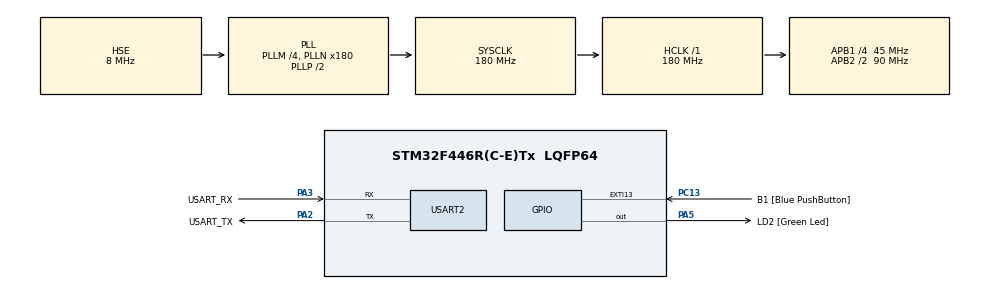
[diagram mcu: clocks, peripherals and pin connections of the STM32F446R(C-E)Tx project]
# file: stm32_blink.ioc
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Mcu.Family=STM32F4
Mcu.Name=STM32F446R(C-E)Tx
Mcu.Package=LQFP64
NVIC.PriorityGroup=NVIC_PRIORITYGROUP_0
PA13.GPIO_Label=TMS
PA13.Mode=Serial_Wire
PA13.Signal=SYS_JTMS-SWDIO
PA14.GPIO_Label=TCK
PA14.Mode=Serial_Wire
PA14.Signal=SYS_JTCK-SWCLK
PA2.GPIO_Label=USART_TX
PA2.Mode=Asynchronous
PA2.Signal=USART2_TX
PA3.GPIO_Label=USART_RX
PA3.Mode=Asynchronous
PA3.Signal=USART2_RX
PA5.GPIO_Label=LD2 [Green Led]
PA5.GPIO_ModeDefaultOutputPP=GPIO_MODE_OUTPUT_PP
PA5.GPIO_PuPd=GPIO_NOPULL
PA5.PinState=GPIO_PIN_SET
PA5.Signal=GPIO_Output
PB3.GPIO_Label=SWO
PB3.Signal=SYS_JTDO-SWO
PC13.GPIO_Label=B1 [Blue PushButton]
PC13.GPIO_ModeDefaultEXTI=GPIO_MODE_IT_FALLING
PC13.Signal=GPXTI13
PC14-OSC32_IN.Mode=LSE-External-Oscillator
PC14-OSC32_IN.Signal=RCC_OSC32_IN
PC15-OSC32_OUT.Mode=LSE-External-Oscillator
PC15-OSC32_OUT.Signal=RCC_OSC32_OUT
PH0-OSC_IN.Mode=HSE-External-Oscillator
PH0-OSC_IN.Signal=RCC_OSC_IN
PH1-OSC_OUT.Mode=HSE-External-Oscillator
PH1-OSC_OUT.Signal=RCC_OSC_OUT
ProjectManager.HeapSize=0x200
ProjectManager.StackSize=0x400
ProjectManager.TargetToolchain=STM32CubeIDE
RCC.48MHZClocksFreq_Value=84000000
RCC.AHBFreq_Value=180000000
RCC.APB1CLKDivider=RCC_HCLK_DIV4
RCC.APB1Freq_Value=45000000
RCC.APB1TimFreq_Value=90000000
RCC.APB2CLKDivider=RCC_HCLK_DIV2
RCC.APB2Freq_Value=90000000
RCC.APB2TimFreq_Value=180000000
RCC.CortexFreq_Value=180000000
RCC.FLatency-AdvancedSettings=FLASH_LATENCY_5
RCC.HCLKFreq_Value=180000000
RCC.HSE_VALUE=8000000
RCC.HSI_VALUE=16000000
RCC.PLLM=4
RCC.PLLN=180
RCC.PLLSourceVirtual=RCC_PLLSOURCE_HSE
RCC.SYSCLKFreq_VALUE=180000000
RCC.SYSCLKSource=RCC_SYSCLKSOURCE_PLLCLK
RCC.USBFreq_Value=180000000
RCC.VCOOutputFreq_Value=360000000
USART2.VirtualMode=VM_ASYNC
board=NUCLEO-F446RE

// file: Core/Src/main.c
/* USER CODE BEGIN Header */
/**
  ******************************************************************************
  * @file           : main.c
  * @brief          : Main program body
  ******************************************************************************
  * @attention
  *
  * Copyright (c) 2025 STMicroelectronics.
  * All rights reserved.
  *
  * This software is licensed under terms that can be found in the LICENSE file
  * in the root directory of this software component.
  * If no LICENSE file comes with this software, it is provided AS-IS.
  *
  ******************************************************************************
  */
/* USER CODE END Header */
#include "main.h"

/* USER CODE BEGIN Includes */
#include <stdio.h>
/* USER CODE END Includes */

UART_HandleTypeDef huart2;

void SystemClock_Config(void);
static void MX_GPIO_Init(void);
static void MX_USART2_UART_Init(void);

/* USER CODE BEGIN 0 */

// Send printf to uart2
int _write(int file, char *ptr, int len)
{
    HAL_UART_Transmit(&huart2, (uint8_t *)ptr, len, HAL_MAX_DELAY);
    return len;
}

/* USER CODE END 0 */

int main(void)
{

  /* MCU Configuration--------------------------------------------------------*/

  /* Reset of all peripherals, Initializes the Flash interface and the Systick. */
  HAL_Init();

  /* Configure the system clock */
  SystemClock_Config();

  /* Initialize all configured peripherals */
  MX_GPIO_Init();
  MX_USART2_UART_Init();
  /* USER CODE BEGIN 2 */

  printf("Starting blink2\n");
  /* USER CODE END 2 */

  /* Infinite loop */
  /* USER CODE BEGIN WHILE */
  uint32_t now = 0, next_blink = 500, next_tick = 1000, loop_cnt = 0;

  while (1)
  {
      now = HAL_GetTick();

      if (now >= next_blink) {

          printf("Toggling GPIO\n");

          HAL_GPIO_TogglePin(LD2_GPIO_Port, LD2_Pin);
          next_blink = now + 500;
      }

      if (now >= next_tick) {

          printf("Tick %lu (loop count = %lu)\n", now / 1000, loop_cnt);

          loop_cnt = 0;
          next_tick = now + 1000;

      }

      ++loop_cnt;

    /* USER CODE END WHILE */

  }
}

void SystemClock_Config(void)
{
  RCC_OscInitTypeDef RCC_OscInitStruct = {0};
  RCC_ClkInitTypeDef RCC_ClkInitStruct = {0};

  /** Configure the main internal regulator output voltage
  */
  __HAL_RCC_PWR_CLK_ENABLE();
  __HAL_PWR_VOLTAGESCALING_CONFIG(PWR_REGULATOR_VOLTAGE_SCALE1);

  /** Initializes the RCC Oscillators according to the specified parameters
  * in the RCC_OscInitTypeDef structure.
  */
  RCC_OscInitStruct.OscillatorType = RCC_OSCILLATORTYPE_HSE;
  RCC_OscInitStruct.HSEState = RCC_HSE_ON;
  RCC_OscInitStruct.PLL.PLLState = RCC_PLL_ON;
  RCC_OscInitStruct.PLL.PLLSource = RCC_PLLSOURCE_HSE;
  RCC_OscInitStruct.PLL.PLLM = 4;
  RCC_OscInitStruct.PLL.PLLN = 180;
  RCC_OscInitStruct.PLL.PLLP = RCC_PLLP_DIV2;
  RCC_OscInitStruct.PLL.PLLQ = 2;
  RCC_OscInitStruct.PLL.PLLR = 2;
  if (HAL_RCC_OscConfig(&RCC_OscInitStruct) != HAL_OK)
  {
    Error_Handler();
  }

  /** Activate the Over-Drive mode
  */
  if (HAL_PWREx_EnableOverDrive() != HAL_OK)
  {
    Error_Handler();
  }

  /** Initializes the CPU, AHB and APB buses clocks
  */
  RCC_ClkInitStruct.ClockType = RCC_CLOCKTYPE_HCLK|RCC_CLOCKTYPE_SYSCLK
                              |RCC_CLOCKTYPE_PCLK1|RCC_CLOCKTYPE_PCLK2;
  RCC_ClkInitStruct.SYSCLKSource = RCC_SYSCLKSOURCE_PLLCLK;
  RCC_ClkInitStruct.AHBCLKDivider = RCC_SYSCLK_DIV1;
  RCC_ClkInitStruct.APB1CLKDivider = RCC_HCLK_DIV4;
  RCC_ClkInitStruct.APB2CLKDivider = RCC_HCLK_DIV2;

  if (HAL_RCC_ClockConfig(&RCC_ClkInitStruct, FLASH_LATENCY_5) != HAL_OK)
  {
    Error_Handler();
  }
}

static void MX_USART2_UART_Init(void)
{

  huart2.Instance = USART2;
  huart2.Init.BaudRate = 115200;
  huart2.Init.WordLength = UART_WORDLENGTH_8B;
  huart2.Init.StopBits = UART_STOPBITS_1;
  huart2.Init.Parity = UART_PARITY_NONE;
  huart2.Init.Mode = UART_MODE_TX_RX;
  huart2.Init.HwFlowCtl = UART_HWCONTROL_NONE;
  huart2.Init.OverSampling = UART_OVERSAMPLING_16;
  if (HAL_UART_Init(&huart2) != HAL_OK)
  {
    Error_Handler();
  }

}

static void MX_GPIO_Init(void)
{
  GPIO_InitTypeDef GPIO_InitStruct = {0};

  /* GPIO Ports Clock Enable */
  __HAL_RCC_GPIOC_CLK_ENABLE();
  __HAL_RCC_GPIOH_CLK_ENABLE();
  __HAL_RCC_GPIOA_CLK_ENABLE();
  __HAL_RCC_GPIOB_CLK_ENABLE();

  /*Configure GPIO pin Output Level */
  HAL_GPIO_WritePin(LD2_GPIO_Port, LD2_Pin, GPIO_PIN_SET);

  /*Configure GPIO pin : B1_Pin */
  GPIO_InitStruct.Pin = B1_Pin;
  GPIO_InitStruct.Mode = GPIO_MODE_IT_FALLING;
  GPIO_InitStruct.Pull = GPIO_NOPULL;
  HAL_GPIO_Init(B1_GPIO_Port, &GPIO_InitStruct);

  /*Configure GPIO pin : LD2_Pin */
  GPIO_InitStruct.Pin = LD2_Pin;
  GPIO_InitStruct.Mode = GPIO_MODE_OUTPUT_PP;
  GPIO_InitStruct.Pull = GPIO_NOPULL;
  GPIO_InitStruct.Speed = GPIO_SPEED_FREQ_LOW;
  HAL_GPIO_Init(LD2_GPIO_Port, &GPIO_InitStruct);

}

void Error_Handler(void)
{
  __disable_irq();
  while (1)
  {
  }
}
